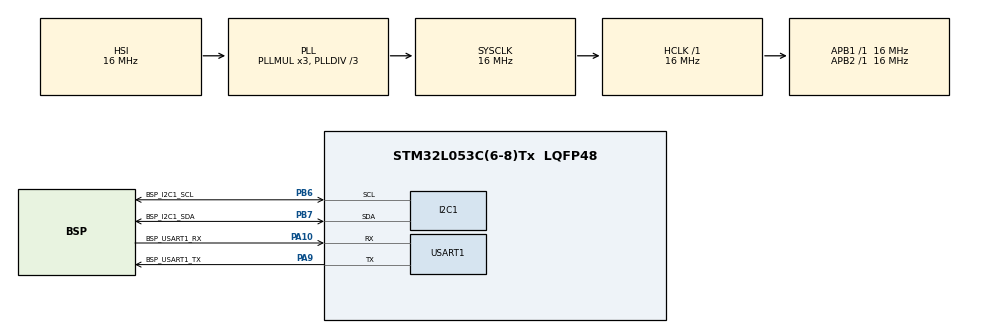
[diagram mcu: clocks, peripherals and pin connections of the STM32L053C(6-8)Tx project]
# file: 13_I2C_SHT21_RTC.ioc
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I2C1.Timing=0x00303D5B
Mcu.Family=STM32L0
Mcu.Name=STM32L053C(6-8)Tx
Mcu.Package=LQFP48
NVIC.RTC_IRQn=true\:0\:0\:false\:false\:true\:true\:true\:true
PA10.GPIO_Label=BSP_USART1_RX
PA10.Mode=Asynchronous
PA10.Signal=USART1_RX
PA9.GPIO_Label=BSP_USART1_TX
PA9.Mode=Asynchronous
PA9.Signal=USART1_TX
PB6.GPIO_Label=BSP_I2C1_SCL
PB6.Mode=I2C
PB6.Signal=I2C1_SCL
PB7.GPIO_Label=BSP_I2C1_SDA
PB7.Mode=I2C
PB7.Signal=I2C1_SDA
PC14-OSC32_IN.Mode=LSE-External-Oscillator
PC14-OSC32_IN.Signal=RCC_OSC32_IN
PC15-OSC32_OUT.Mode=LSE-External-Oscillator
PC15-OSC32_OUT.Signal=RCC_OSC32_OUT
PH0-OSC_IN.Mode=HSE-External-Oscillator
PH0-OSC_IN.Signal=RCC_OSC_IN
PH1-OSC_OUT.Mode=HSE-External-Oscillator
PH1-OSC_OUT.Signal=RCC_OSC_OUT
ProjectManager.HeapSize=0x200
ProjectManager.StackSize=0x400
ProjectManager.TargetToolchain=STM32CubeIDE
RCC.AHBFreq_Value=16000000
RCC.APB1Freq_Value=16000000
RCC.APB1TimFreq_Value=16000000
RCC.APB2Freq_Value=16000000
RCC.APB2TimFreq_Value=16000000
RCC.HCLKFreq_Value=16000000
RCC.HSE_VALUE=8000000
RCC.HSI16_VALUE=16000000
RCC.HSI48MClockSelection=RCC_USBCLKSOURCE_HSI48
RCC.HSI48_VALUE=48000000
RCC.HSI_VALUE=16000000
RCC.I2c1ClockSelection=RCC_I2C1CLKSOURCE_HSI
RCC.MSI_VALUE=2097000
RCC.PLLDIV=RCC_PLLDIV_3
RCC.RTCClockSelection=RCC_RTCCLKSOURCE_LSI
RCC.RTCClockSelectionVirtual=RCC_RTCCLKSOURCE_LSE
RCC.SYSCLKFreq_VALUE=16000000
RCC.SYSCLKSource=RCC_SYSCLKSOURCE_PLLCLK
RCC.VCOOutputFreq_Value=48000000
RTC.Alarm-Alarm\ A=RTC_ALARM_A
RTC.AlarmDateWeekDaySel-Alarm\ A=RTC_ALARMDATEWEEKDAYSEL_DATE
RTC.AlarmMaskHours-Alarm\ A=RTC_ALARMMASK_HOURS
RTC.AlarmMaskMinutes-Alarm\ A=RTC_ALARMMASK_MINUTES
RTC.Hours=5
RTC.Hours_A-Alarm\ A=5
RTC.Minutes=1
RTC.Minutes_A-Alarm\ A=1
RTC.Month=RTC_MONTH_APRIL
RTC.Seconds=1
RTC.Seconds_A-Alarm\ A=10
RTC.StoreOperation=RTC_STOREOPERATION_RESET
RTC.Year=24
USART1.VirtualMode-Asynchronous=VM_ASYNC
VP_RTC_VS_RTC_Activate.Mode=RTC_Enabled
VP_RTC_VS_RTC_Alarm_A_Intern.Mode=Alarm A
VP_RTC_VS_RTC_Calendar.Mode=RTC_Calendar
VP_RTC_VS_RTC_WakeUp_intern.Mode=WakeUp
board=STM32L0538-DISCO

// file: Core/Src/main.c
/* USER CODE BEGIN Header */
/**
  ******************************************************************************
  * @file           : main.c
  * @brief          : Main program body
  ******************************************************************************
  * @attention
  *
  * Copyright (c) 2024 STMicroelectronics.
  * All rights reserved.
  *
  * This software is licensed under terms that can be found in the LICENSE file
  * in the root directory of this software component.
  * If no LICENSE file comes with this software, it is provided AS-IS.
  *
  ******************************************************************************
  */
/* USER CODE END Header */
#include "main.h"

/* USER CODE BEGIN Includes */
#include<stdio.h>
#include<string.h>
#include"sht2x_for_stm32_hal.h"
/* USER CODE END Includes */

I2C_HandleTypeDef hi2c1;

RTC_HandleTypeDef hrtc;

UART_HandleTypeDef huart1;

/* USER CODE BEGIN PV */
char date[20];
char time[20];
RTC_TimeTypeDef sTime;
RTC_DateTypeDef sDate;
/* USER CODE END PV */

void SystemClock_Config(void);
static void MX_GPIO_Init(void);
static void MX_I2C1_Init(void);
static void MX_USART1_UART_Init(void);
static void MX_RTC_Init(void);

int main(void)
{

  /* MCU Configuration--------------------------------------------------------*/

  /* Reset of all peripherals, Initializes the Flash interface and the Systick. */
  HAL_Init();

  /* Configure the system clock */
  SystemClock_Config();

  /* Initialize all configured peripherals */
  MX_GPIO_Init();
  MX_I2C1_Init();
  MX_USART1_UART_Init();
  MX_RTC_Init();
  /* USER CODE BEGIN 2 */
  SHT2x_Init(&hi2c1);
  /* USER CODE END 2 */

  /* Infinite loop */
  while (1)
  {

    /* USER CODE BEGIN 3 */
	  HAL_RTC_GetDate(&hrtc, &sDate,  RTC_FORMAT_BIN);
	  HAL_RTC_GetTime(&hrtc, &sTime, RTC_FORMAT_BIN);

	  sprintf(date, "Date : %02d.%02d.%02d\t",sDate.Date,sDate.Month,sDate.Year);
	  sprintf(time, "Time : %02d.%02d.%02d\r\n",sTime.Hours,sTime.Minutes,sTime.Seconds);

	  HAL_UART_Transmit(&huart1, (uint8_t *)date, sizeof(date), 100);
	  HAL_UART_Transmit(&huart1, (uint8_t *)time, sizeof(time), 100);
	  HAL_Delay(1000);
  }
  /* USER CODE END 3 */
}

void SystemClock_Config(void)
{
  RCC_OscInitTypeDef RCC_OscInitStruct = {0};
  RCC_ClkInitTypeDef RCC_ClkInitStruct = {0};
  RCC_PeriphCLKInitTypeDef PeriphClkInit = {0};

  /** Configure the main internal regulator output voltage
  */
  __HAL_PWR_VOLTAGESCALING_CONFIG(PWR_REGULATOR_VOLTAGE_SCALE1);

  /** Initializes the RCC Oscillators according to the specified parameters
  * in the RCC_OscInitTypeDef structure.
  */
  RCC_OscInitStruct.OscillatorType = RCC_OSCILLATORTYPE_HSI|RCC_OSCILLATORTYPE_LSI;
  RCC_OscInitStruct.HSIState = RCC_HSI_ON;
  RCC_OscInitStruct.HSICalibrationValue = RCC_HSICALIBRATION_DEFAULT;
  RCC_OscInitStruct.LSIState = RCC_LSI_ON;
  RCC_OscInitStruct.PLL.PLLState = RCC_PLL_ON;
  RCC_OscInitStruct.PLL.PLLSource = RCC_PLLSOURCE_HSI;
  RCC_OscInitStruct.PLL.PLLMUL = RCC_PLLMUL_3;
  RCC_OscInitStruct.PLL.PLLDIV = RCC_PLLDIV_3;
  if (HAL_RCC_OscConfig(&RCC_OscInitStruct) != HAL_OK)
  {
    Error_Handler();
  }

  /** Initializes the CPU, AHB and APB buses clocks
  */
  RCC_ClkInitStruct.ClockType = RCC_CLOCKTYPE_HCLK|RCC_CLOCKTYPE_SYSCLK
                              |RCC_CLOCKTYPE_PCLK1|RCC_CLOCKTYPE_PCLK2;
  RCC_ClkInitStruct.SYSCLKSource = RCC_SYSCLKSOURCE_PLLCLK;
  RCC_ClkInitStruct.AHBCLKDivider = RCC_SYSCLK_DIV1;
  RCC_ClkInitStruct.APB1CLKDivider = RCC_HCLK_DIV1;
  RCC_ClkInitStruct.APB2CLKDivider = RCC_HCLK_DIV1;

  if (HAL_RCC_ClockConfig(&RCC_ClkInitStruct, FLASH_LATENCY_0) != HAL_OK)
  {
    Error_Handler();
  }
  PeriphClkInit.PeriphClockSelection = RCC_PERIPHCLK_USART1|RCC_PERIPHCLK_I2C1
                              |RCC_PERIPHCLK_RTC;
  PeriphClkInit.Usart1ClockSelection = RCC_USART1CLKSOURCE_PCLK2;
  PeriphClkInit.I2c1ClockSelection = RCC_I2C1CLKSOURCE_HSI;
  PeriphClkInit.RTCClockSelection = RCC_RTCCLKSOURCE_LSI;
  if (HAL_RCCEx_PeriphCLKConfig(&PeriphClkInit) != HAL_OK)
  {
    Error_Handler();
  }
}

static void MX_I2C1_Init(void)
{

  hi2c1.Instance = I2C1;
  hi2c1.Init.Timing = 0x00303D5B;
  hi2c1.Init.OwnAddress1 = 0;
  hi2c1.Init.AddressingMode = I2C_ADDRESSINGMODE_7BIT;
  hi2c1.Init.DualAddressMode = I2C_DUALADDRESS_DISABLE;
  hi2c1.Init.OwnAddress2 = 0;
  hi2c1.Init.OwnAddress2Masks = I2C_OA2_NOMASK;
  hi2c1.Init.GeneralCallMode = I2C_GENERALCALL_DISABLE;
  hi2c1.Init.NoStretchMode = I2C_NOSTRETCH_DISABLE;
  if (HAL_I2C_Init(&hi2c1) != HAL_OK)
  {
    Error_Handler();
  }

  /** Configure Analogue filter
  */
  if (HAL_I2CEx_ConfigAnalogFilter(&hi2c1, I2C_ANALOGFILTER_ENABLE) != HAL_OK)
  {
    Error_Handler();
  }

  /** Configure Digital filter
  */
  if (HAL_I2CEx_ConfigDigitalFilter(&hi2c1, 0) != HAL_OK)
  {
    Error_Handler();
  }

}

static void MX_RTC_Init(void)
{

  RTC_TimeTypeDef sTime = {0};
  RTC_DateTypeDef sDate = {0};
  RTC_AlarmTypeDef sAlarm = {0};

  /** Initialize RTC Only
  */
  hrtc.Instance = RTC;
  hrtc.Init.HourFormat = RTC_HOURFORMAT_24;
  hrtc.Init.AsynchPrediv = 127;
  hrtc.Init.SynchPrediv = 255;
  hrtc.Init.OutPut = RTC_OUTPUT_DISABLE;
  hrtc.Init.OutPutRemap = RTC_OUTPUT_REMAP_NONE;
  hrtc.Init.OutPutPolarity = RTC_OUTPUT_POLARITY_HIGH;
  hrtc.Init.OutPutType = RTC_OUTPUT_TYPE_OPENDRAIN;
  if (HAL_RTC_Init(&hrtc) != HAL_OK)
  {
    Error_Handler();
  }

  /** Initialize RTC and set the Time and Date
  */
  sTime.Hours = 0x5;
  sTime.Minutes = 0x1;
  sTime.Seconds = 0x1;
  sTime.DayLightSaving = RTC_DAYLIGHTSAVING_NONE;
  sTime.StoreOperation = RTC_STOREOPERATION_RESET;
  if (HAL_RTC_SetTime(&hrtc, &sTime, RTC_FORMAT_BCD) != HAL_OK)
  {
    Error_Handler();
  }
  sDate.WeekDay = RTC_WEEKDAY_MONDAY;
  sDate.Month = RTC_MONTH_APRIL;
  sDate.Date = 0x1;
  sDate.Year = 0x24;

  if (HAL_RTC_SetDate(&hrtc, &sDate, RTC_FORMAT_BCD) != HAL_OK)
  {
    Error_Handler();
  }

  /** Enable the Alarm A
  */
  sAlarm.AlarmTime.Hours = 0x5;
  sAlarm.AlarmTime.Minutes = 0x1;
  sAlarm.AlarmTime.Seconds = 0x10;
  sAlarm.AlarmTime.SubSeconds = 0x0;
  sAlarm.AlarmTime.DayLightSaving = RTC_DAYLIGHTSAVING_NONE;
  sAlarm.AlarmTime.StoreOperation = RTC_STOREOPERATION_RESET;
  sAlarm.AlarmMask = RTC_ALARMMASK_HOURS|RTC_ALARMMASK_MINUTES;
  sAlarm.AlarmSubSecondMask = RTC_ALARMSUBSECONDMASK_ALL;
  sAlarm.AlarmDateWeekDaySel = RTC_ALARMDATEWEEKDAYSEL_DATE;
  sAlarm.AlarmDateWeekDay = 0x1;
  sAlarm.Alarm = RTC_ALARM_A;
  if (HAL_RTC_SetAlarm_IT(&hrtc, &sAlarm, RTC_FORMAT_BCD) != HAL_OK)
  {
    Error_Handler();
  }

  /** Enable the WakeUp
  */
  if (HAL_RTCEx_SetWakeUpTimer_IT(&hrtc, 0, RTC_WAKEUPCLOCK_RTCCLK_DIV16) != HAL_OK)
  {
    Error_Handler();
  }

}

static void MX_USART1_UART_Init(void)
{

  huart1.Instance = USART1;
  huart1.Init.BaudRate = 115200;
  huart1.Init.WordLength = UART_WORDLENGTH_8B;
  huart1.Init.StopBits = UART_STOPBITS_1;
  huart1.Init.Parity = UART_PARITY_NONE;
  huart1.Init.Mode = UART_MODE_TX_RX;
  huart1.Init.HwFlowCtl = UART_HWCONTROL_NONE;
  huart1.Init.OverSampling = UART_OVERSAMPLING_16;
  huart1.Init.OneBitSampling = UART_ONE_BIT_SAMPLE_DISABLE;
  huart1.AdvancedInit.AdvFeatureInit = UART_ADVFEATURE_NO_INIT;
  if (HAL_UART_Init(&huart1) != HAL_OK)
  {
    Error_Handler();
  }

}

static void MX_GPIO_Init(void)
{

  /* GPIO Ports Clock Enable */
  __HAL_RCC_GPIOC_CLK_ENABLE();
  __HAL_RCC_GPIOH_CLK_ENABLE();
  __HAL_RCC_GPIOA_CLK_ENABLE();
  __HAL_RCC_GPIOB_CLK_ENABLE();

}

/* USER CODE BEGIN 4 */
void HAL_RTC_AlarmAEventCallback(RTC_HandleTypeDef *hrtc)
{
  /* Prevent unused argument(s) compilation warning */
//  UNUSED(hrtc);
	printf("Alarm ON\r\n");
	uint8_t buffer[200] = {0};
		  float celsius = SHT2x_GetTemperature(1);
		  float fahrenheit = SHT2x_CelsiusToFahrenheit(celsius);
		  float kelvin = SHT2x_CelsiusToKelvin(celsius);
		  float RH = SHT2x_GetRelativeHumidity(1);

		  sprintf(buffer, "%d.%dºC, %d.%dºF, %d.%d K, %d.%d%% RH\n",
				  SHT2x_GetInteger(celsius), SHT2x_GetDecimal(celsius,1),
				  SHT2x_GetInteger(fahrenheit), SHT2x_GetDecimal(fahrenheit,1),
				  SHT2x_GetInteger(kelvin), SHT2x_GetDecimal(kelvin,1),
				  SHT2x_GetInteger(RH), SHT2x_GetDecimal(RH,1));
		  HAL_UART_Transmit(&huart1, buffer, strlen(buffer), 500);

}
/* USER CODE END 4 */

void Error_Handler(void)
{
  __disable_irq();
  while (1)
  {
  }
}
